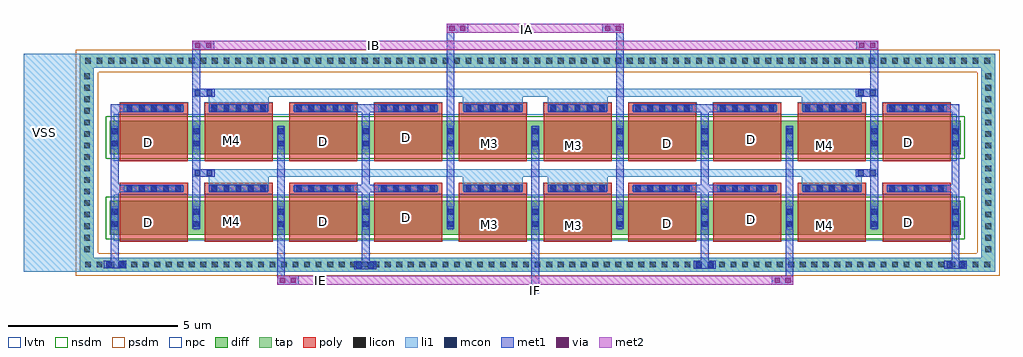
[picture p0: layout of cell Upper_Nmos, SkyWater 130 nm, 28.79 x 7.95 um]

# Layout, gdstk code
from math import pi, radians
import gdstk
lib = gdstk.Library(unit=1e-6, precision=1e-09)
def R(c, l, rs):  # rectangles x0, y0, x1, y1
    for r in rs: c.add(gdstk.rectangle(r[:2], r[2:], *l))
def A(c, l, x, y, w, h, nx, ny, dx, dy):  # array of equal rectangles
    R(c, l, [(x+i*dx, y+j*dy, x+i*dx+w, y+j*dy+h) for i in range(nx) for j in range(ny)])
diff = (65, 20)
tap = (65, 44)
poly = (66, 20)
licon = (66, 44)
li1 = (67, 20)
mcon = (67, 44)
met1 = (68, 20)
via = (68, 44)
met2 = (69, 20)
nsdm = (93, 44)
psdm = (94, 20)
npc = (95, 20)
lvtn = (125, 44)

vias_gen_1 = lib.new_cell('vias_gen$1')
R(vias_gen_1, li1, [(0,0,0.66,0.23)])
R(vias_gen_1, mcon, [(0.065,0.03,0.235,0.2), (0.425,0.03,0.595,0.2)])
R(vias_gen_1, met1, [(0,0,0.66,0.23)])

nfet = lib.new_cell('nfet')
R(nfet, diff, [(0,0,25.1,1)])
A(nfet, poly, 0.3, -0.2, 2, 1.4, 10, 1, 2.5, 0)
A(nfet, poly, 0.3, 1.2, 2, 0.33, 10, 1, 2.5, 0)
A(nfet, licon, 2.465, 0.235, 0.17, 0.17, 9, 2, 2.5, 0.36)
A(nfet, licon, 0.495, 1.28, 0.17, 0.17, 5, 1, 0.36, 0)
A(nfet, licon, 2.995, 1.28, 0.17, 0.17, 5, 1, 0.36, 0)
A(nfet, licon, 5.495, 1.28, 0.17, 0.17, 5, 1, 0.36, 0)
A(nfet, licon, 7.995, 1.28, 0.17, 0.17, 5, 1, 0.36, 0)
A(nfet, licon, 10.495, 1.28, 0.17, 0.17, 5, 1, 0.36, 0)
A(nfet, licon, 12.995, 1.28, 0.17, 0.17, 5, 1, 0.36, 0)
A(nfet, licon, 15.495, 1.28, 0.17, 0.17, 5, 1, 0.36, 0)
A(nfet, licon, 17.995, 1.28, 0.17, 0.17, 5, 1, 0.36, 0)
A(nfet, licon, 20.495, 1.28, 0.17, 0.17, 5, 1, 0.36, 0)
A(nfet, licon, 22.995, 1.28, 0.17, 0.17, 5, 1, 0.36, 0)
R(nfet, licon, [(0.065,0.235,0.235,0.405), (24.865,0.235,25.035,0.405), (0.065,0.595,0.235,0.765), (24.865,0.595,25.035,0.765)])
A(nfet, li1, 2.465, 0.155, 0.17, 0.69, 9, 1, 2.5, 0)
A(nfet, li1, 0.415, 1.28, 1.77, 0.17, 10, 1, 2.5, 0)
R(nfet, li1, [(0.065,0.155,0.235,0.845), (24.865,0.155,25.035,0.845)])
A(nfet, mcon, 2.465, 0.235, 0.17, 0.17, 9, 2, 2.5, 0.36)
A(nfet, mcon, 0.495, 1.28, 0.17, 0.17, 5, 1, 0.36, 0)
A(nfet, mcon, 2.995, 1.28, 0.17, 0.17, 5, 1, 0.36, 0)
A(nfet, mcon, 5.495, 1.28, 0.17, 0.17, 5, 1, 0.36, 0)
A(nfet, mcon, 7.995, 1.28, 0.17, 0.17, 5, 1, 0.36, 0)
A(nfet, mcon, 10.495, 1.28, 0.17, 0.17, 5, 1, 0.36, 0)
A(nfet, mcon, 12.995, 1.28, 0.17, 0.17, 5, 1, 0.36, 0)
A(nfet, mcon, 15.495, 1.28, 0.17, 0.17, 5, 1, 0.36, 0)
A(nfet, mcon, 17.995, 1.28, 0.17, 0.17, 5, 1, 0.36, 0)
A(nfet, mcon, 20.495, 1.28, 0.17, 0.17, 5, 1, 0.36, 0)
A(nfet, mcon, 22.995, 1.28, 0.17, 0.17, 5, 1, 0.36, 0)
R(nfet, mcon, [(0.065,0.235,0.235,0.405), (24.865,0.235,25.035,0.405), (0.065,0.595,0.235,0.765), (24.865,0.595,25.035,0.765)])
A(nfet, met1, 2.435, 0.175, 0.23, 0.65, 9, 1, 2.5, 0)
A(nfet, met1, 0.435, 1.25, 1.73, 0.23, 10, 1, 2.5, 0)
R(nfet, met1, [(0.035,0.175,0.265,0.825), (24.835,0.175,25.065,0.825)])
R(nfet, nsdm, [(-0.125,-0.125,25.225,1.125)])
A(nfet, npc, 0.29, 1.19, 2.02, 0.35, 10, 1, 2.5, 0)
R(nfet, lvtn, [(0.12,-0.18,24.98,1.18)])

vias_gen_4 = lib.new_cell('vias_gen$4')
R(vias_gen_4, tap, [(0,0,0.41,5.6)])
A(vias_gen_4, licon, 0.12, 0.165, 0.17, 0.17, 1, 16, 0, 0.34)
R(vias_gen_4, li1, [(0,0,0.41,5.6)])
R(vias_gen_4, psdm, [(-0.125,-0.125,0.535,5.725)])

vias_gen_5 = lib.new_cell('vias_gen$5')
R(vias_gen_5, tap, [(0,0,0.41,27)])
A(vias_gen_5, licon, 0.12, 0.155, 0.17, 0.17, 1, 79, 0, 0.34)
R(vias_gen_5, li1, [(0,0,0.41,27)])
R(vias_gen_5, psdm, [(-0.125,-0.125,0.535,27.125)])

vias_gen_2 = lib.new_cell('vias_gen$2')
R(vias_gen_2, met1, [(0,0,0.64,0.26)])
R(vias_gen_2, via, [(0.085,0.055,0.235,0.205), (0.405,0.055,0.555,0.205)])
R(vias_gen_2, met2, [(0,0,0.64,0.26)])

upper_nmos = lib.new_cell('Upper_Nmos')
R(upper_nmos, li1, [(-3.05,-3.665,-1.385,2.76), (2.41,-1.125,4.18,-0.64), (9.91,-1.125,11.675,-0.64), (12.41,-1.125,14.18,-0.64), (19.91,-1.125,21.68,-0.64), (2.59,-0.87,22.05,-0.64), (2.41,1.245,4.18,1.73), (9.91,1.245,11.675,1.73), (12.41,1.245,14.18,1.73), (19.91,1.245,21.68,1.73), (2.59,1.5,22.05,1.73)])
R(upper_nmos, met1, [(11.93,-4.3,12.16,-0.03), (4.43,-3.785,4.66,-2.4), (19.43,-3.785,19.66,-2.4), (6.93,-3.475,7.16,1.275), (-0.47,-3.465,-0.24,1.275), (24.33,-3.455,24.56,-1.095), (16.93,-3.45,17.16,1.275), (19.43,-3.01,19.66,-0.03), (11.93,-3,12.16,-2.4), (24.33,-2.42,24.56,1.275), (-0.47,-1.75,-0.245,-1.095), (1.93,-1.75,2.16,1.73), (4.43,-1.75,4.66,-0.03), (9.43,-1.75,9.66,3.5), (14.43,-1.75,14.66,3.65), (16.93,-1.75,17.16,-1.095), (21.93,-1.75,22.16,1.73), (-0.435,-1.325,-0.07,-1.095), (6.66,-1.325,7.43,-1.095), (16.66,-1.325,17.43,-1.095), (24.16,-1.325,24.56,-1.095), (1.93,0.62,2.16,2.885), (6.93,0.62,7.16,1.275), (9.43,0.62,9.66,1.815), (14.43,0.62,14.66,1.815), (21.93,0.62,22.16,2.885), (-0.435,1.045,-0.07,1.275), (6.66,1.045,7.43,1.275), (16.66,1.045,17.43,1.275), (24.16,1.045,24.56,1.275)])
R(upper_nmos, met2, [(4.43,-4.045,19.02,-3.785), (1.93,2.885,21.52,3.145), (10.07,3.39,14.465,3.65)])
upper_nmos.add(gdstk.Reference(vias_gen_1, (1.93,1.5)))
upper_nmos.add(gdstk.Reference(vias_gen_1, (21.495,1.5)))
upper_nmos.add(gdstk.Reference(nfet, (-0.505,-0.205)))
upper_nmos.add(gdstk.Reference(vias_gen_1, (1.93,-0.87)))
upper_nmos.add(gdstk.Reference(vias_gen_1, (21.495,-0.87)))
upper_nmos.add(gdstk.Reference(nfet, (-0.505,-2.575)))
upper_nmos.add(gdstk.Reference(vias_gen_4, (-1.385,-3.25)))
upper_nmos.add(gdstk.Reference(vias_gen_5, (-1.385,-3.25), rotation=3*pi/2))
upper_nmos.add(gdstk.Reference(vias_gen_4, (25.205,-3.25)))
upper_nmos.add(gdstk.Reference(vias_gen_5, (-1.385,2.76), rotation=3*pi/2))
upper_nmos.add(gdstk.Reference(vias_gen_1, (-0.68,-3.565)))
upper_nmos.add(gdstk.Reference(vias_gen_1, (6.7,-3.59)))
upper_nmos.add(gdstk.Reference(vias_gen_1, (16.715,-3.575)))
upper_nmos.add(gdstk.Reference(vias_gen_1, (24.115,-3.575)))
upper_nmos.add(gdstk.Reference(vias_gen_2, (1.93,2.885)))
upper_nmos.add(gdstk.Reference(vias_gen_2, (21.52,2.885)))
upper_nmos.add(gdstk.Reference(vias_gen_2, (9.43,3.39)))
upper_nmos.add(gdstk.Reference(vias_gen_2, (14.02,3.39)))
upper_nmos.add(gdstk.Reference(vias_gen_2, (4.43,-4.045)))
upper_nmos.add(gdstk.Reference(vias_gen_2, (19.02,-4.045)))
upper_nmos.add(gdstk.Label('D', (0.635,0.15), layer=68, texttype=5))
upper_nmos.add(gdstk.Label('M4', (3.095,0.2), layer=68, texttype=5))
upper_nmos.add(gdstk.Label('D', (5.79,0.185), layer=68, texttype=5))
upper_nmos.add(gdstk.Label('D', (8.25,0.3), layer=68, texttype=5))
upper_nmos.add(gdstk.Label('M3', (10.71,0.11), layer=68, texttype=5))
upper_nmos.add(gdstk.Label('M3', (13.185,0.06), layer=68, texttype=5))
upper_nmos.add(gdstk.Label('D', (15.955,0.13), layer=68, texttype=5))
upper_nmos.add(gdstk.Label('D', (18.415,0.245), layer=68, texttype=5))
upper_nmos.add(gdstk.Label('M4', (20.565,0.055), layer=68, texttype=5))
upper_nmos.add(gdstk.Label('D', (23.055,0.145), layer=68, texttype=5))
upper_nmos.add(gdstk.Label('D', (0.635,-2.22), layer=68, texttype=5))
upper_nmos.add(gdstk.Label('M4', (3.095,-2.17), layer=68, texttype=5))
upper_nmos.add(gdstk.Label('D', (5.79,-2.185), layer=68, texttype=5))
upper_nmos.add(gdstk.Label('D', (8.25,-2.07), layer=68, texttype=5))
upper_nmos.add(gdstk.Label('M3', (10.71,-2.26), layer=68, texttype=5))
upper_nmos.add(gdstk.Label('M3', (13.185,-2.31), layer=68, texttype=5))
upper_nmos.add(gdstk.Label('D', (15.955,-2.24), layer=68, texttype=5))
upper_nmos.add(gdstk.Label('D', (18.415,-2.125), layer=68, texttype=5))
upper_nmos.add(gdstk.Label('M4', (20.565,-2.315), layer=68, texttype=5))
upper_nmos.add(gdstk.Label('D', (23.055,-2.225), layer=68, texttype=5))
upper_nmos.add(gdstk.Label('VSS', (-2.425,0.44), layer=67, texttype=16))
upper_nmos.add(gdstk.Label('IF', (12.04,-4.205), layer=68, texttype=16))
upper_nmos.add(gdstk.Label('IA', (11.79,3.485), layer=69, texttype=16))
upper_nmos.add(gdstk.Label('IB', (7.285,2.995), layer=69, texttype=16))
upper_nmos.add(gdstk.Label('IE', (5.71,-3.935), layer=69, texttype=16))

lib.write_gds('Upper_Nmos.gds')
